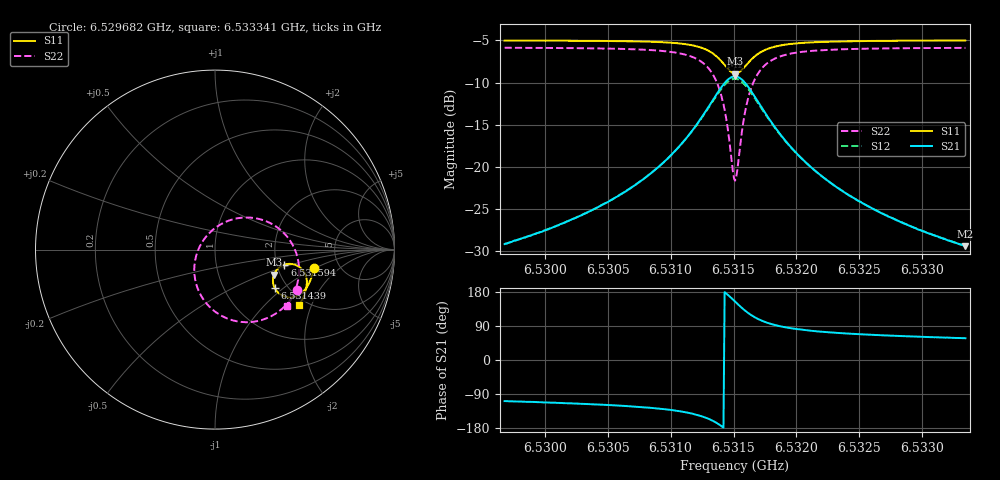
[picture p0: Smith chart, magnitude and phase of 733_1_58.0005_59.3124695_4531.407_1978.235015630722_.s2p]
#  HZ  S  RI  R  50.00
! Rohde & Schwarz Vector Network Analyzer
! Rohde-Schwarz,ZNB20-2Port,1311601062101988,3.16
! Created: UTC 3/21/2024, 1:23:09 AM
! freq[Hz]  re:S11  im:S11  re:S21  im:S21  re:S12  im:S12  re:S22  im:S22
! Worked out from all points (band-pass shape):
!   401 points, 6.529682 GHz to 6.533341 GHz, reference 50 ohm
!   highest |S21| = -9.27 dB at 6.531512 GHz (marker M1); lowest = -29.4 dB at 6.533341 GHz (marker M2)
!   |S21| within 3 dB of the highest: 6.531328 GHz to 6.531694 GHz (366.2 kHz wide, 0.00561 % of centre)
!   lowest |S11| = -8.9 dB at 6.531512 GHz (marker M3), VSWR 2.11, Z = 92.8 - j29.7 ohm
!   |S11| at or under -10 dB: nowhere
!   |S22| runs from -21.7 to -5.9 dB; largest |S21 - S12| = 0.015
!   S11 on the Smith chart (normalised r, x): 6.529682 GHz: 3.22, -0.99; 6.531439 GHz: 1.72, -0.87; 6.531594 GHz: 2.20, -0.44; 6.533341 GHz: 1.81, -1.64
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6.5296824e9  0.5503 -0.1053  -0.011 -0.033  -0.0118 -0.0329  0.4563 -0.2234
6.5302953e9  0.5363 -0.1573  -0.0223 -0.0465  -0.0236 -0.0462  0.4192 -0.2814
6.5306337e9  0.5226 -0.19  -0.0367 -0.0606  -0.0384 -0.0597  0.3818 -0.3227
6.5309081e9  0.5029 -0.2211  -0.0623 -0.0789  -0.0646 -0.0769  0.3249 -0.3646
6.5311185e9  0.472 -0.2493  -0.1081 -0.0978  -0.1111 -0.0937  0.2331 -0.399
6.5312831e9  0.4183 -0.2655  -0.1916 -0.0987  -0.1935 -0.0902  0.082 -0.3888
6.5313746e9  0.3674 -0.2515  -0.2697 -0.058  -0.2666 -0.0461  -0.044 -0.3043
6.5314112e9  0.3456 -0.2331  -0.3011 -0.0202  -0.2947 -0.00815  -0.089 -0.2342
6.5314386e9  0.3321 -0.2127  -0.319 0.0187  -0.3097 0.0296  -0.1106 -0.1662
6.5314935e9  0.3238 -0.1585  -0.3218 0.116  -0.3082 0.1212  -0.0957 -0.00675
6.5315118e9  0.3286 -0.1397  -0.3099 0.1487  -0.2961 0.1515  -0.0699 0.0441
6.5315301e9  0.3374 -0.1221  -0.2917 0.1784  -0.2783 0.1787  -0.0348 0.0891
6.5315667e9  0.3637 -0.0952  -0.242 0.223  -0.2311 0.2198  0.0543 0.1525
6.5315941e9  0.387 -0.084  -0.1999 0.2411  -0.1914 0.2367  0.1267 0.1748
6.5316307e9  0.4175 -0.0795  -0.1467 0.248  -0.1411 0.2429  0.2158 0.1763
6.5316673e9  0.4433 -0.0837  -0.1026 0.2409  -0.0987 0.2366  0.2886 0.1564
6.5317771e9  0.4891 -0.1152  -0.0245 0.1934  -0.0231 0.1914  0.4123 0.0585
6.5319051e9  0.5076 -0.1509  0.00826 0.1446  0.00958 0.1437  0.4584 -0.0381
6.5321247e9  0.5119 -0.1937  0.0223 0.0956  0.0234 0.0951  0.4672 -0.1379
6.5324174e9  0.5049 -0.2313  0.0236 0.0635  0.0247 0.0631  0.4533 -0.2092
6.5327375e9  0.4935 -0.2623  0.0219 0.0455  0.0227 0.0452  0.4338 -0.2567
6.5333412e9  0.4689 -0.3089  0.0182 0.0285  0.0189 0.0282  0.3985 -0.314
